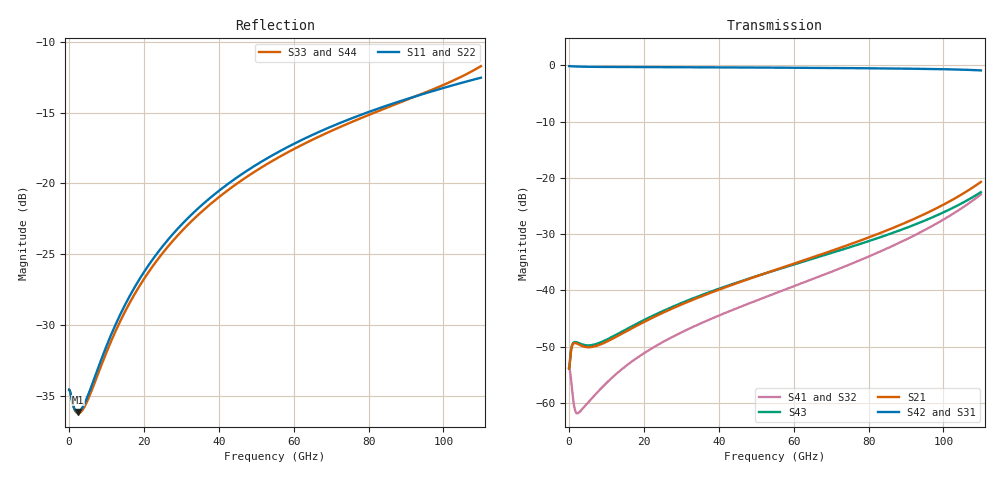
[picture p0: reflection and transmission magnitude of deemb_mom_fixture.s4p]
! Created Mon Apr 12 10:28:53 2010
# hz S ma R 50
! 4 Port Network Data from data block
! freq  magS11  angS11  magS12  angS12  magS13  angS13  magS14  angS14
!  magS21  angS21  magS22  angS22  magS23  angS23  magS24  angS24
!  magS31  angS31  magS32  angS32  magS33  angS33  magS34  angS34
!  magS41  angS41  magS42  angS42  magS43  angS43  magS44  angS44
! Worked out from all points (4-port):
!   159 points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, 8.488 Hz to 110 GHz, reference 50 ohm
!   strongest paths, dB at 8.488 Hz, 7.384 GHz, 56.15 GHz, 92.43 GHz, 110 GHz:
!     S42: -0.2, -0.3, -0.4, -0.6, -0.9
!     S31: -0.2, -0.3, -0.4, -0.6, -0.9
!     S21: -53.9, -49.8, -36.1, -27.2, -20.7
!     S43: -53.9, -49.5, -36.2, -28.3, -22.6
!     S41: -53.9, -58.2, -40.2, -30.2, -23.0
!     S32: -53.9, -58.2, -40.3, -30.2, -23.0
!   lowest |S11| = -36.2 dB at 2.292 GHz (marker M1), VSWR 1.03, Z = 51.1 - j1.09 ohm
!   |S11| at or under -10 dB: start of sweep to end of sweep
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8.487654  0.01866 -0.0  0.00203 0.0  0.9813 -0.0  0.00203 180.0
          0.00203 0.0  0.01849 -0.0  0.00203 180.0  0.9815 -0.0
          0.9813 -0.0  0.00203 180.0  0.01866 -0.0  0.00203 0.0
          0.00203 180.0  0.9815 -0.0  0.00203 0.0  0.01849 -0.0
7.638889e8  0.0171 -21.0  0.003202 13.1  0.9786 -0.6  0.001342 134.9
            0.003202 13.1  0.01693 -21.2  0.001342 134.9  0.9787 -0.6
            0.9786 -0.6  0.001342 134.9  0.01708 -20.0  0.003245 14.5
            0.001342 134.9  0.9787 -0.6  0.003245 14.5  0.01692 -20.2
2.291667e9  0.01556 -43.3  0.003351 5.0  0.9736 -1.4  0.0008106 129.2
            0.003351 5.0  0.01543 -43.7  0.0008109 129.2  0.9738 -1.4
            0.9736 -1.4  0.0008109 129.2  0.0154 -40.9  0.00344 8.1
            0.0008106 129.2  0.9738 -1.4  0.00344 8.1  0.01526 -41.3
1.756944e10  0.04311 -89.2  0.004763 36.4  0.9637 -7.8  0.002443 85.3
             0.004763 36.4  0.04304 -89.4  0.002443 85.4  0.9639 -7.8
             0.9637 -7.8  0.002443 85.4  0.04077 -84.4  0.00496 52.8
             0.002443 85.3  0.9639 -7.8  0.00496 52.8  0.04075 -84.6
3.78125e10  0.08925 -104.6  0.009535 34.7  0.9585 -16.4  0.005573 65.9
            0.009535 34.7  0.08916 -104.7  0.005568 66.1  0.9586 -16.4
            0.9585 -16.4  0.005568 66.1  0.08469 -95.9  0.009747 69.9
            0.005573 65.9  0.9586 -16.4  0.009747 69.9  0.0847 -96.0
8.631944e10  0.1913 -136.1  0.03569 -6.7  0.9359 -37.6  0.02478 32.1
             0.03569 -6.7  0.1912 -136.1  0.02471 32.3  0.936 -37.6
             0.9359 -37.6  0.02471 32.3  0.1886 -112.5  0.03234 77.0
             0.02478 32.1  0.936 -37.6  0.03234 77.0  0.1887 -112.6
1.1e11  0.2366 -161.4  0.09196 -39.3  0.9003 -49.8  0.07115 11.1
        0.09196 -39.3  0.2365 -161.4  0.07091 11.3  0.9004 -49.8
        0.9003 -49.8  0.07091 11.3  0.2599 -119.1  0.07456 69.8
        0.07115 11.1  0.9004 -49.8  0.07456 69.8  0.2602 -119.1
